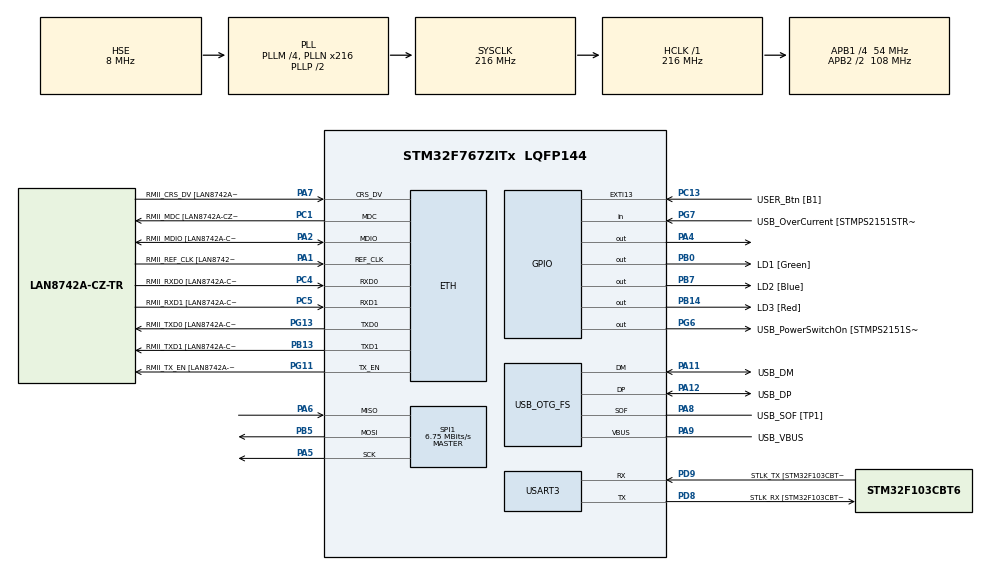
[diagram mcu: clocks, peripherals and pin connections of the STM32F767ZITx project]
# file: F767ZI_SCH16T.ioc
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ETH.MediaInterface=HAL_ETH_RMII_MODE
ETH.PHY_Name=LAN8742A_PHY_ADDRESS
ETH.PHY_Value=0
ETH.PhyAddress=0
Mcu.Family=STM32F7
Mcu.Name=STM32F767ZITx
Mcu.Package=LQFP144
NVIC.PriorityGroup=NVIC_PRIORITYGROUP_4
PA1.GPIO_Label=RMII_REF_CLK [LAN8742A-CZ-TR_REFCLK0]
PA1.Mode=RMII
PA1.Signal=ETH_REF_CLK
PA10.GPIO_Label=USB_ID
PA10.Signal=USB_OTG_FS_ID
PA11.GPIO_Label=USB_DM
PA11.Mode=Device_Only
PA11.Signal=USB_OTG_FS_DM
PA12.GPIO_Label=USB_DP
PA12.Mode=Device_Only
PA12.Signal=USB_OTG_FS_DP
PA13.GPIO_Label=TMS
PA13.Mode=Trace_Asynchronous_SW
PA13.Signal=SYS_JTMS-SWDIO
PA14.GPIO_Label=TCK
PA14.Mode=Trace_Asynchronous_SW
PA14.Signal=SYS_JTCK-SWCLK
PA2.GPIO_Label=RMII_MDIO [LAN8742A-CZ-TR_MDIO]
PA2.Mode=RMII
PA2.Signal=ETH_MDIO
PA4.Signal=GPIO_Output
PA5.Mode=Full_Duplex_Master
PA5.Signal=SPI1_SCK
PA6.Mode=Full_Duplex_Master
PA6.Signal=SPI1_MISO
PA7.GPIO_Label=RMII_CRS_DV [LAN8742A-CZ-TR_CRS_DV]
PA7.Mode=RMII
PA7.Signal=ETH_CRS_DV
PA8.GPIO_Label=USB_SOF [TP1]
PA8.Mode=Activate_SOF_FS
PA8.Signal=USB_OTG_FS_SOF
PA9.GPIO_Label=USB_VBUS
PA9.Mode=Activate_VBUS
PA9.Signal=USB_OTG_FS_VBUS
PB0.GPIO_Label=LD1 [Green]
PB0.Signal=GPIO_Output
PB13.GPIO_Label=RMII_TXD1 [LAN8742A-CZ-TR_TXD1]
PB13.Mode=RMII
PB13.Signal=ETH_TXD1
PB14.GPIO_Label=LD3 [Red]
PB14.Signal=GPIO_Output
PB3.GPIO_Label=SWO
PB3.Mode=Trace_Asynchronous_SW
PB3.Signal=SYS_JTDO-SWO
PB5.Mode=Full_Duplex_Master
PB5.Signal=SPI1_MOSI
PB7.GPIO_Label=LD2 [Blue]
PB7.Signal=GPIO_Output
PC1.GPIO_Label=RMII_MDC [LAN8742A-CZ-TR_MDC]
PC1.Mode=RMII
PC1.Signal=ETH_MDC
PC13.GPIO_Label=USER_Btn [B1]
PC13.Signal=GPXTI13
PC14/OSC32_IN.Mode=LSE-External-Oscillator
PC14/OSC32_IN.Signal=RCC_OSC32_IN
PC15/OSC32_OUT.Mode=LSE-External-Oscillator
PC15/OSC32_OUT.Signal=RCC_OSC32_OUT
PC4.GPIO_Label=RMII_RXD0 [LAN8742A-CZ-TR_RXD0]
PC4.Mode=RMII
PC4.Signal=ETH_RXD0
PC5.GPIO_Label=RMII_RXD1 [LAN8742A-CZ-TR_RXD1]
PC5.Mode=RMII
PC5.Signal=ETH_RXD1
PD8.GPIO_Label=STLK_RX [STM32F103CBT6_PA3]
PD8.Mode=Asynchronous
PD8.Signal=USART3_TX
PD9.GPIO_Label=STLK_TX [STM32F103CBT6_PA2]
PD9.Mode=Asynchronous
PD9.Signal=USART3_RX
PG11.GPIO_Label=RMII_TX_EN [LAN8742A-CZ-TR_TXEN]
PG11.Mode=RMII
PG11.Signal=ETH_TX_EN
PG13.GPIO_Label=RMII_TXD0 [LAN8742A-CZ-TR_TXD0]
PG13.Mode=RMII
PG13.Signal=ETH_TXD0
PG6.GPIO_Label=USB_PowerSwitchOn [STMPS2151STR_EN]
PG6.Signal=GPIO_Output
PG7.GPIO_Label=USB_OverCurrent [STMPS2151STR_FAULT]
PG7.Signal=GPIO_Input
PH0/OSC_IN.GPIO_Label=MCO [STM32F103CBT6_PA8]
PH0/OSC_IN.Mode=HSE-External-Clock-Source
PH0/OSC_IN.Signal=RCC_OSC_IN
PH1/OSC_OUT.Mode=HSE-External-Clock-Source
PH1/OSC_OUT.Signal=RCC_OSC_OUT
ProjectManager.HeapSize=0x200
ProjectManager.StackSize=0x400
ProjectManager.TargetToolchain=Makefile
RCC.48MHZClocksFreq_Value=24000000
RCC.AHBFreq_Value=216000000
RCC.APB1CLKDivider=RCC_HCLK_DIV4
RCC.APB1Freq_Value=54000000
RCC.APB1TimFreq_Value=108000000
RCC.APB2CLKDivider=RCC_HCLK_DIV2
RCC.APB2Freq_Value=108000000
RCC.APB2TimFreq_Value=216000000
RCC.CortexFreq_Value=216000000
RCC.HCLKFreq_Value=216000000
RCC.HSE_VALUE=8000000
RCC.HSI_VALUE=16000000
RCC.PLLM=4
RCC.PLLMUL=RCC_PLL_MUL9
RCC.PLLN=216
RCC.PLLQ=9
RCC.PRESCALERUSB=RCC_USBCLKSOURCE_PLL_DIV1_5
RCC.SYSCLKFreq_VALUE=216000000
RCC.SYSCLKSource=RCC_SYSCLKSOURCE_PLLCLK
RCC.SYSCLKSourceVirtual=RCC_SYSCLKSOURCE_PLLCLK
RCC.USBFreq_Value=48000000
RCC.VCOOutputFreq_Value=432000000
SPI1.BaudRatePrescaler=SPI_BAUDRATEPRESCALER_16
SPI1.CLKPhase=SPI_PHASE_1EDGE
SPI1.CLKPolarity=SPI_POLARITY_LOW
SPI1.CalculateBaudRate=6.75 MBits/s
SPI1.DataSize=SPI_DATASIZE_8BIT
SPI1.Direction=SPI_DIRECTION_2LINES
SPI1.Mode=SPI_MODE_MASTER
SPI1.NSSPMode=SPI_NSS_PULSE_DISABLE
SPI1.VirtualType=VM_MASTER
USART3.VirtualMode-Asynchronous=VM_ASYNC
USB_OTG_FS.VirtualMode=Device_Only
board=NUCLEO-F767ZI

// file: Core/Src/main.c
/* USER CODE BEGIN Header */
/**
  ******************************************************************************
  * @file           : main.c
  * @brief          : Main program body
  ******************************************************************************
  * @attention
  *
  * Copyright (c) 2024 STMicroelectronics.
  * All rights reserved.
  *
  * This software is licensed under terms that can be found in the LICENSE file
  * in the root directory of this software component.
  * If no LICENSE file comes with this software, it is provided AS-IS.
  *
  ******************************************************************************
  */
/* USER CODE END Header */
#include "main.h"
#include "eth.h"
#include "spi.h"
#include "usart.h"
#include "usb_otg.h"
#include "gpio.h"

/* USER CODE BEGIN Includes */
#include <stdio.h>
#include <stdint.h>
#include "SCH16T.h"
/* USER CODE END Includes */

/* USER CODE BEGIN PV */

typedef struct {
  int32_t x;
  int32_t y;
  int32_t z;
} xyz_t;

static xyz_t acc;
static xyz_t gyro;
static uint32_t temperature;
/* USER CODE END PV */

void SystemClock_Config(void);

/* USER CODE BEGIN 0 */
#ifdef __GNUC__
#define PUTCHAR_PROTOTYPE int __io_putchar(int ch)
#else
#define PUTCHAR_PROTOTYPE int fputc(int ch, FILE *f)
#endif /* __GNUC__ */
void __io_putchar(uint8_t ch) {
  HAL_UART_Transmit(&huart3, &ch, 1, 10);
}
/* USER CODE END 0 */

int main(void)
{

  /* MCU Configuration--------------------------------------------------------*/

  /* Reset of all peripherals, Initializes the Flash interface and the Systick. */
  HAL_Init();

  /* Configure the system clock */
  SystemClock_Config();

  /* Initialize all configured peripherals */
  MX_GPIO_Init();
  MX_ETH_Init();
  MX_USART3_UART_Init();
  MX_USB_OTG_FS_PCD_Init();
  MX_SPI1_Init();
  /* USER CODE BEGIN 2 */
  setbuf(stdout, NULL);
  printf("\r\n%s,%s\r\n",__DATE__,__TIME__);
  HAL_GPIO_WritePin(GPIOA, GPIO_PIN_4, GPIO_PIN_SET);
  /* USER CODE END 2 */

  /* Infinite loop */
  /* USER CODE BEGIN WHILE */
  HAL_Delay(100);
  transfer(en_sensor);
  HAL_Delay(215);
  transfer(eoi);
  HAL_Delay(3);
  while (1)
  {
    /* USER CODE END WHILE */

    /* USER CODE BEGIN 3 */
    acc.x = getInt32data(transfer(read_acc_y1));
    acc.y = getInt32data(transfer(read_acc_z1));
    acc.z = getInt32data(transfer(read_rate_x1));
    gyro.x = getInt32data(transfer(read_rate_y1));
    gyro.y = getInt32data(transfer(read_rate_z1));
    gyro.z = getInt32data(transfer(read_temperature));
    temperature = (getUint32data(transfer(read_acc_x1)) >> 4);

    HAL_Delay(10);
  }
  /* USER CODE END 3 */
}

void SystemClock_Config(void)
{
  RCC_OscInitTypeDef RCC_OscInitStruct = {0};
  RCC_ClkInitTypeDef RCC_ClkInitStruct = {0};

  /** Configure LSE Drive Capability
  */
  HAL_PWR_EnableBkUpAccess();

  /** Configure the main internal regulator output voltage
  */
  __HAL_RCC_PWR_CLK_ENABLE();
  __HAL_PWR_VOLTAGESCALING_CONFIG(PWR_REGULATOR_VOLTAGE_SCALE1);

  /** Initializes the RCC Oscillators according to the specified parameters
  * in the RCC_OscInitTypeDef structure.
  */
  RCC_OscInitStruct.OscillatorType = RCC_OSCILLATORTYPE_HSE;
  RCC_OscInitStruct.HSEState = RCC_HSE_BYPASS;
  RCC_OscInitStruct.PLL.PLLState = RCC_PLL_ON;
  RCC_OscInitStruct.PLL.PLLSource = RCC_PLLSOURCE_HSE;
  RCC_OscInitStruct.PLL.PLLM = 4;
  RCC_OscInitStruct.PLL.PLLN = 216;
  RCC_OscInitStruct.PLL.PLLP = RCC_PLLP_DIV2;
  RCC_OscInitStruct.PLL.PLLQ = 9;
  RCC_OscInitStruct.PLL.PLLR = 2;
  if (HAL_RCC_OscConfig(&RCC_OscInitStruct) != HAL_OK)
  {
    Error_Handler();
  }

  /** Activate the Over-Drive mode
  */
  if (HAL_PWREx_EnableOverDrive() != HAL_OK)
  {
    Error_Handler();
  }

  /** Initializes the CPU, AHB and APB buses clocks
  */
  RCC_ClkInitStruct.ClockType = RCC_CLOCKTYPE_HCLK|RCC_CLOCKTYPE_SYSCLK
                              |RCC_CLOCKTYPE_PCLK1|RCC_CLOCKTYPE_PCLK2;
  RCC_ClkInitStruct.SYSCLKSource = RCC_SYSCLKSOURCE_PLLCLK;
  RCC_ClkInitStruct.AHBCLKDivider = RCC_SYSCLK_DIV1;
  RCC_ClkInitStruct.APB1CLKDivider = RCC_HCLK_DIV4;
  RCC_ClkInitStruct.APB2CLKDivider = RCC_HCLK_DIV2;

  if (HAL_RCC_ClockConfig(&RCC_ClkInitStruct, FLASH_LATENCY_7) != HAL_OK)
  {
    Error_Handler();
  }
}

void Error_Handler(void)
{
  __disable_irq();
  while (1)
  {
  }
}
